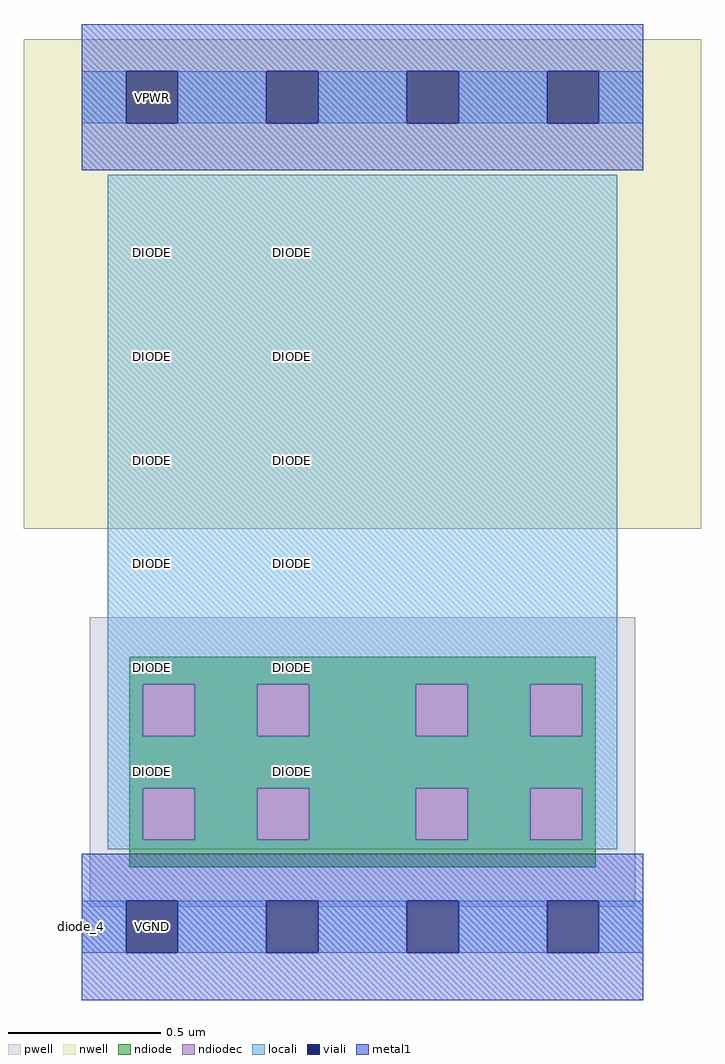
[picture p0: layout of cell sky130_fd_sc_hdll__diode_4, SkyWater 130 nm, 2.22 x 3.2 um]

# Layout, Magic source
magic
tech sky130A
magscale 1 2
<< nwell >>
rect -38 261 406 582
<< pwell >>
rect 5 13 363 203
rect 29 -17 63 13
<< ndiode >>
rect 31 159 337 177
rect 31 125 40 159
rect 74 125 115 159
rect 149 125 219 159
rect 253 125 294 159
rect 328 125 337 159
rect 31 91 337 125
rect 31 57 40 91
rect 74 57 115 91
rect 149 57 219 91
rect 253 57 294 91
rect 328 57 337 91
rect 31 39 337 57
<< ndiodec >>
rect 40 125 74 159
rect 115 125 149 159
rect 219 125 253 159
rect 294 125 328 159
rect 40 57 74 91
rect 115 57 149 91
rect 219 57 253 91
rect 294 57 328 91
<< locali >>
rect 0 527 29 561
rect 63 527 121 561
rect 155 527 213 561
rect 247 527 305 561
rect 339 527 368 561
rect 17 159 351 493
rect 17 125 40 159
rect 74 125 115 159
rect 149 125 219 159
rect 253 125 294 159
rect 328 125 351 159
rect 17 91 351 125
rect 17 57 40 91
rect 74 57 115 91
rect 149 57 219 91
rect 253 57 294 91
rect 328 57 351 91
rect 17 51 351 57
rect 0 -17 29 17
rect 63 -17 121 17
rect 155 -17 213 17
rect 247 -17 305 17
rect 339 -17 368 17
<< viali >>
rect 29 527 63 561
rect 121 527 155 561
rect 213 527 247 561
rect 305 527 339 561
rect 29 -17 63 17
rect 121 -17 155 17
rect 213 -17 247 17
rect 305 -17 339 17
<< metal1 >>
rect 0 561 368 592
rect 0 527 29 561
rect 63 527 121 561
rect 155 527 213 561
rect 247 527 305 561
rect 339 527 368 561
rect 0 496 368 527
rect 0 17 368 48
rect 0 -17 29 17
rect 63 -17 121 17
rect 155 -17 213 17
rect 247 -17 305 17
rect 339 -17 368 17
rect 0 -48 368 -17
<< labels >>
flabel locali s 121 85 155 119 0 FreeSans 200 0 0 0 DIODE
port 1 nsew signal input
flabel locali s 121 357 155 391 0 FreeSans 200 0 0 0 DIODE
port 1 nsew signal input
flabel locali s 29 357 63 391 0 FreeSans 200 0 0 0 DIODE
port 1 nsew signal input
flabel locali s 121 425 155 459 0 FreeSans 200 0 0 0 DIODE
port 1 nsew signal input
flabel locali s 29 425 63 459 0 FreeSans 200 0 0 0 DIODE
port 1 nsew signal input
flabel locali s 29 289 63 323 0 FreeSans 200 0 0 0 DIODE
port 1 nsew signal input
flabel locali s 121 289 155 323 0 FreeSans 200 0 0 0 DIODE
port 1 nsew signal input
flabel locali s 29 221 63 255 0 FreeSans 200 0 0 0 DIODE
port 1 nsew signal input
flabel locali s 121 221 155 255 0 FreeSans 200 0 0 0 DIODE
port 1 nsew signal input
flabel locali s 121 153 155 187 0 FreeSans 200 0 0 0 DIODE
port 1 nsew signal input
flabel locali s 29 153 63 187 0 FreeSans 200 0 0 0 DIODE
port 1 nsew signal input
flabel locali s 29 85 63 119 0 FreeSans 200 0 0 0 DIODE
port 1 nsew signal input
flabel metal1 s 29 -17 63 17 0 FreeSans 200 0 0 0 VGND
port 2 nsew ground input
flabel metal1 s 29 527 63 561 0 FreeSans 200 0 0 0 VPWR
port 5 nsew power input
flabel nwell s 29 527 63 561 0 FreeSans 200 0 0 0 VPB
port 4 nsew power bidirectional
flabel pwell s 29 -17 63 17 0 FreeSans 200 0 0 0 VNB
port 3 nsew ground bidirectional
rlabel comment s 0 0 0 0 4 diode_4
<< properties >>
string LEFsite unithd
string LEFclass CORE
string FIXED_BBOX 0 0 368 544
string GDS_FILE $PDKPATH/libs.ref/sky130_fd_sc_hdll/gds/sky130_fd_sc_hdll.gds
string LEFsymmetry X Y R90
string GDS_END 3598584
string GDS_START 3594578
string LEFproperties maskLayoutSubType "abstract" prCellType "standard" originalViewName "layout"
<< end >>
